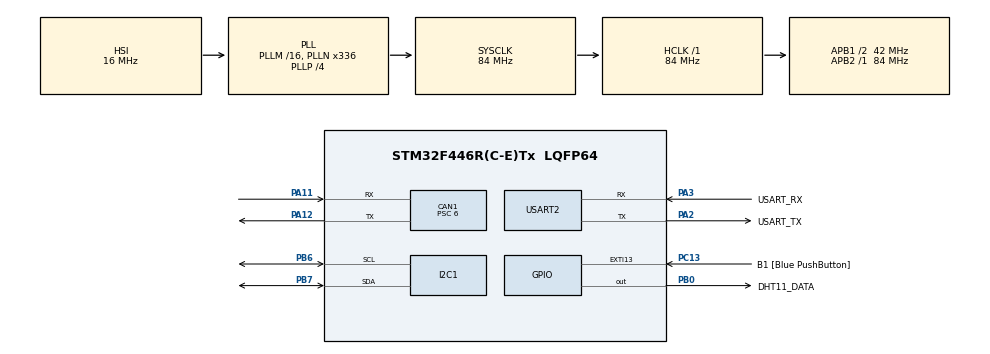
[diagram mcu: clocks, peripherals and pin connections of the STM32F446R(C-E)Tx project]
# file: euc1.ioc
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CAN1.ABOM=ENABLE
CAN1.BS1=CAN_BS1_11TQ
CAN1.BS2=CAN_BS2_2TQ
CAN1.CalculateBaudRate=500000
CAN1.CalculateTimeBit=2000
CAN1.CalculateTimeQuantum=142.85714285714286
CAN1.Prescaler=6
FREERTOS.BinarySemaphores01=CAN_RX_BinarySemaphore,Dynamic,NULL,Available
FREERTOS.Tasks01=Sensor_Task,0,256,StartSensorTask,Default,NULL,Dynamic,NULL,NULL;CAN_TX_Task,1,256,Start_CAN_TX_Task,Default,NULL,Dynamic,NULL,NULL;CAN_RX_Task,2,256,Start_CAN_RX_Task,Default,NULL,Dynamic,NULL,NULL;Heartbeat_Task,-2,128,Start_Heartbeat_Task,Default,NULL,Dynamic,NULL,NULL
Mcu.Family=STM32F4
Mcu.Name=STM32F446R(C-E)Tx
Mcu.Package=LQFP64
NVIC.PriorityGroup=NVIC_PRIORITYGROUP_4
NVIC.TIM2_IRQn=true\:5\:0\:false\:false\:true\:true\:true\:true\:true
PA11.Mode=CAN_Activate
PA11.Signal=CAN1_RX
PA12.Mode=CAN_Activate
PA12.Signal=CAN1_TX
PA13.GPIO_Label=TMS
PA13.Mode=Serial_Wire
PA13.Signal=SYS_JTMS-SWDIO
PA14.GPIO_Label=TCK
PA14.Mode=Serial_Wire
PA14.Signal=SYS_JTCK-SWCLK
PA2.GPIO_Label=USART_TX
PA2.Mode=Asynchronous
PA2.Signal=USART2_TX
PA3.GPIO_Label=USART_RX
PA3.Mode=Asynchronous
PA3.Signal=USART2_RX
PB0.GPIO_Label=DHT11_DATA
PB0.Signal=GPIO_Output
PB3.GPIO_Label=SWO
PB3.Signal=SYS_JTDO-SWO
PB6.Mode=I2C
PB6.Signal=I2C1_SCL
PB7.Mode=I2C
PB7.Signal=I2C1_SDA
PC13.GPIO_Label=B1 [Blue PushButton]
PC13.GPIO_ModeDefaultEXTI=GPIO_MODE_IT_FALLING
PC13.Signal=GPXTI13
PC14-OSC32_IN.Mode=LSE-External-Oscillator
PC14-OSC32_IN.Signal=RCC_OSC32_IN
PC15-OSC32_OUT.Mode=LSE-External-Oscillator
PC15-OSC32_OUT.Signal=RCC_OSC32_OUT
PH0-OSC_IN.Mode=HSE-External-Oscillator
PH0-OSC_IN.Signal=RCC_OSC_IN
PH1-OSC_OUT.Mode=HSE-External-Oscillator
PH1-OSC_OUT.Signal=RCC_OSC_OUT
ProjectManager.HeapSize=0x200
ProjectManager.StackSize=0x400
ProjectManager.TargetToolchain=STM32CubeIDE
RCC.48MHZClocksFreq_Value=84000000
RCC.AHBFreq_Value=84000000
RCC.APB1CLKDivider=RCC_HCLK_DIV2
RCC.APB1Freq_Value=42000000
RCC.APB1TimFreq_Value=84000000
RCC.APB2Freq_Value=84000000
RCC.APB2TimFreq_Value=84000000
RCC.CortexFreq_Value=84000000
RCC.FLatency-AdvancedSettings=FLASH_LATENCY_2
RCC.HCLKFreq_Value=84000000
RCC.HSE_VALUE=8000000
RCC.HSI_VALUE=16000000
RCC.PLLN=336
RCC.PLLP=RCC_PLLP_DIV4
RCC.SYSCLKFreq_VALUE=84000000
RCC.SYSCLKSource=RCC_SYSCLKSOURCE_PLLCLK
RCC.USBFreq_Value=168000000
RCC.VCOOutputFreq_Value=336000000
TIM2.Prescaler=83
USART2.VirtualMode=VM_ASYNC
VP_FREERTOS_VS_CMSIS_V1.Mode=CMSIS_V1
VP_TIM2_VS_ClockSourceINT.Mode=Internal
board=NUCLEO-F446RE

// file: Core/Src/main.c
/* USER CODE BEGIN Header */
/**
  ******************************************************************************
  * @file           : main.c
  * @brief          : Main program body
  ******************************************************************************
  * @attention
  *
  * Copyright (c) 2026 STMicroelectronics.
  * All rights reserved.
  *
  * This software is licensed under terms that can be found in the LICENSE file
  * in the root directory of this software component.
  * If no LICENSE file comes with this software, it is provided AS-IS.
  *
  ******************************************************************************
  */
/* USER CODE END Header */
#include "main.h"
#include "cmsis_os.h"
#include "can.h"
#include "i2c.h"
#include "tim.h"
#include "usart.h"
#include "gpio.h"

/* USER CODE BEGIN Includes */
#include <stdio.h>
#include "bh1750.h"
#include "can_comm.h"
#include "dht11.h"
/* USER CODE END Includes */

/* USER CODE BEGIN PV */
volatile uint8_t ota_mode_active = 0;
/* USER CODE END PV */

void SystemClock_Config(void);
void MX_FREERTOS_Init(void);

int main(void)
{

  /* MCU Configuration--------------------------------------------------------*/

  /* Reset of all peripherals, Initializes the Flash interface and the Systick. */
  HAL_Init();

  /* Configure the system clock */
  SystemClock_Config();

  /* Initialize all configured peripherals */
  MX_GPIO_Init();
  MX_CAN1_Init();
  MX_I2C1_Init();
  MX_TIM2_Init();
  MX_USART2_UART_Init();
  /* USER CODE BEGIN 2 */
  (void)BH1750_Init(&hi2c1);
  if(HAL_TIM_Base_Start(&htim2) != HAL_OK)
  {
      Error_Handler();
  }

  BH1750_SetMode(CONTINUOUS_HIGH_RES_MODE);
  CAN_Init();

  /* USER CODE END 2 */

  /* Call init function for freertos objects (in cmsis_os2.c) */
  MX_FREERTOS_Init();

  /* Start scheduler */
  osKernelStart();

  /* We should never get here as control is now taken by the scheduler */

  /* Infinite loop */
  while (1)
  {

  }
}

void SystemClock_Config(void)
{
  RCC_OscInitTypeDef RCC_OscInitStruct = {0};
  RCC_ClkInitTypeDef RCC_ClkInitStruct = {0};

  /** Configure the main internal regulator output voltage
  */
  __HAL_RCC_PWR_CLK_ENABLE();
  __HAL_PWR_VOLTAGESCALING_CONFIG(PWR_REGULATOR_VOLTAGE_SCALE3);

  /** Initializes the RCC Oscillators according to the specified parameters
  * in the RCC_OscInitTypeDef structure.
  */
  RCC_OscInitStruct.OscillatorType = RCC_OSCILLATORTYPE_HSI;
  RCC_OscInitStruct.HSIState = RCC_HSI_ON;
  RCC_OscInitStruct.HSICalibrationValue = RCC_HSICALIBRATION_DEFAULT;
  RCC_OscInitStruct.PLL.PLLState = RCC_PLL_ON;
  RCC_OscInitStruct.PLL.PLLSource = RCC_PLLSOURCE_HSI;
  RCC_OscInitStruct.PLL.PLLM = 16;
  RCC_OscInitStruct.PLL.PLLN = 336;
  RCC_OscInitStruct.PLL.PLLP = RCC_PLLP_DIV4;
  RCC_OscInitStruct.PLL.PLLQ = 2;
  RCC_OscInitStruct.PLL.PLLR = 2;
  if (HAL_RCC_OscConfig(&RCC_OscInitStruct) != HAL_OK)
  {
    Error_Handler();
  }

  /** Initializes the CPU, AHB and APB buses clocks
  */
  RCC_ClkInitStruct.ClockType = RCC_CLOCKTYPE_HCLK|RCC_CLOCKTYPE_SYSCLK
                              |RCC_CLOCKTYPE_PCLK1|RCC_CLOCKTYPE_PCLK2;
  RCC_ClkInitStruct.SYSCLKSource = RCC_SYSCLKSOURCE_PLLCLK;
  RCC_ClkInitStruct.AHBCLKDivider = RCC_SYSCLK_DIV1;
  RCC_ClkInitStruct.APB1CLKDivider = RCC_HCLK_DIV2;
  RCC_ClkInitStruct.APB2CLKDivider = RCC_HCLK_DIV1;

  if (HAL_RCC_ClockConfig(&RCC_ClkInitStruct, FLASH_LATENCY_2) != HAL_OK)
  {
    Error_Handler();
  }
}

/* USER CODE BEGIN 4 */
int _write(int file, char *ptr, int len)
{
    HAL_UART_Transmit(&huart2, (uint8_t *)ptr, len, HAL_MAX_DELAY);
    return len;
}
/* USER CODE END 4 */

void Error_Handler(void)
{
  __disable_irq();
  while (1)
  {
  }
}

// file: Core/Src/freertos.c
/* USER CODE BEGIN Header */
/**
  ******************************************************************************
  * File Name          : freertos.c
  * Description        : Code for freertos applications
  ******************************************************************************
  * @attention
  *
  * Copyright (c) 2026 STMicroelectronics.
  * All rights reserved.
  *
  * This software is licensed under terms that can be found in the LICENSE file
  * in the root directory of this software component.
  * If no LICENSE file comes with this software, it is provided AS-IS.
  *
  ******************************************************************************
  */
/* USER CODE END Header */

#include "FreeRTOS.h"
#include "task.h"
#include "main.h"
#include "cmsis_os.h"

/* USER CODE BEGIN Includes */
#include <stdio.h>
#include "sensor_task.h"
#include "sensor_data.h"
#include "queue.h"
#include "can_task.h"
#include "can_comm.h"
/* USER CODE END Includes */

osThreadId Sensor_TaskHandle;
osThreadId CAN_TX_TaskHandle;
osThreadId CAN_RX_TaskHandle;
osThreadId Heartbeat_TaskHandle;
osSemaphoreId CAN_RX_BinarySemaphoreHandle;

void StartSensorTask(void const * argument);
void Start_CAN_TX_Task(void const * argument);
void Start_CAN_RX_Task(void const * argument);
void Start_Heartbeat_Task(void const * argument);

void MX_FREERTOS_Init(void); /* (MISRA C 2004 rule 8.1) */

/* GetIdleTaskMemory prototype (linked to static allocation support) */
void vApplicationGetIdleTaskMemory( StaticTask_t **ppxIdleTaskTCBBuffer, StackType_t **ppxIdleTaskStackBuffer, uint32_t *pulIdleTaskStackSize );

/* USER CODE BEGIN GET_IDLE_TASK_MEMORY */
static StaticTask_t xIdleTaskTCBBuffer;
static StackType_t xIdleStack[configMINIMAL_STACK_SIZE];

void vApplicationGetIdleTaskMemory( StaticTask_t **ppxIdleTaskTCBBuffer, StackType_t **ppxIdleTaskStackBuffer, uint32_t *pulIdleTaskStackSize )
{
  *ppxIdleTaskTCBBuffer = &xIdleTaskTCBBuffer;
  *ppxIdleTaskStackBuffer = &xIdleStack[0];
  *pulIdleTaskStackSize = configMINIMAL_STACK_SIZE;
  /* place for user code */
}
/* USER CODE END GET_IDLE_TASK_MEMORY */

void MX_FREERTOS_Init(void) {

  /* Create the semaphores(s) */
  /* definition and creation of CAN_RX_BinarySemaphore */
  osSemaphoreDef(CAN_RX_BinarySemaphore);
  CAN_RX_BinarySemaphoreHandle = osSemaphoreCreate(osSemaphore(CAN_RX_BinarySemaphore), 1);

  /* USER CODE BEGIN RTOS_QUEUES */
  /* add queues, ... */
  sensorQueue = xQueueCreate(
          1,
          sizeof(SensorData_t));

  /* USER CODE END RTOS_QUEUES */

  /* Create the thread(s) */
  /* definition and creation of Sensor_Task */
  osThreadDef(Sensor_Task, StartSensorTask, osPriorityNormal, 0, 256);
  Sensor_TaskHandle = osThreadCreate(osThread(Sensor_Task), NULL);

  /* definition and creation of CAN_TX_Task */
  osThreadDef(CAN_TX_Task, Start_CAN_TX_Task, osPriorityAboveNormal, 0, 256);
  CAN_TX_TaskHandle = osThreadCreate(osThread(CAN_TX_Task), NULL);

  /* definition and creation of CAN_RX_Task */
  osThreadDef(CAN_RX_Task, Start_CAN_RX_Task, osPriorityHigh, 0, 256);
  CAN_RX_TaskHandle = osThreadCreate(osThread(CAN_RX_Task), NULL);

  /* definition and creation of Heartbeat_Task */
  osThreadDef(Heartbeat_Task, Start_Heartbeat_Task, osPriorityLow, 0, 128);
  Heartbeat_TaskHandle = osThreadCreate(osThread(Heartbeat_Task), NULL);

}

void StartSensorTask(void const * argument)
{
  /* USER CODE BEGIN StartSensorTask */
  /* Infinite loop */
	SensorTask(argument);
  /* USER CODE END StartSensorTask */
}

void Start_CAN_TX_Task(void const * argument)
{
  /* USER CODE BEGIN Start_CAN_TX_Task */
  /* Infinite loop */
	CanTxTask(argument);
  /* USER CODE END Start_CAN_TX_Task */
}

void Start_CAN_RX_Task(void const * argument)
{
  /* USER CODE BEGIN Start_CAN_RX_Task */
  for (;;)
  {
    CAN_RX_Task_Run();
  }
  /* USER CODE END Start_CAN_RX_Task */
}

void Start_Heartbeat_Task(void const * argument)
{
  /* USER CODE BEGIN Start_Heartbeat_Task */
  for (;;)
  {
    Heartbeat_Task_Run();
  }
  /* USER CODE END Start_Heartbeat_Task */
}
